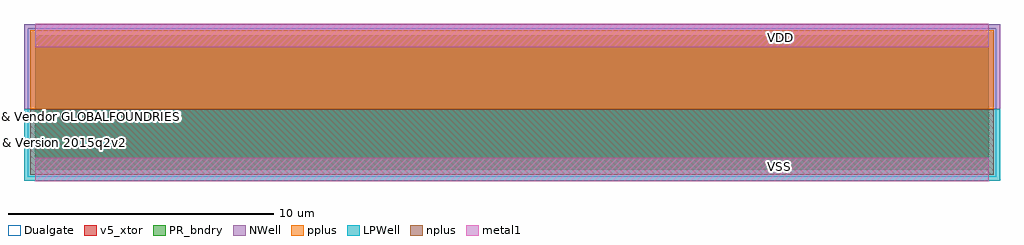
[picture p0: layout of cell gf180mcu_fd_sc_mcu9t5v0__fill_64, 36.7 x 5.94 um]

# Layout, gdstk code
import gdstk
lib = gdstk.Library(unit=1e-6, precision=1e-09)
def R(c, l, rs):  # rectangles x0, y0, x1, y1
    for r in rs: c.add(gdstk.rectangle(r[:2], r[2:], *l))
PR_bndry = (0, 0)
NWell = (21, 0)
pplus = (31, 0)
nplus = (32, 0)
metal1 = (34, 0)
Dualgate = (55, 0)
v5_xtor = (112, 1)
LPWell = (204, 0)

gf180mcu_fd_sc_mcu9t5v0_ = lib.new_cell('gf180mcu_fd_sc_mcu9t5v0__fill_64')
R(gf180mcu_fd_sc_mcu9t5v0_, PR_bndry, [(0,0,35.84,5.04)])
R(gf180mcu_fd_sc_mcu9t5v0_, NWell, [(-0.43,2.265,36.27,5.47)])
R(gf180mcu_fd_sc_mcu9t5v0_, pplus, [(-0.2,2.265,36.04,5.24)])
R(gf180mcu_fd_sc_mcu9t5v0_, nplus, [(-0.2,-0.2,36.04,2.265)])
R(gf180mcu_fd_sc_mcu9t5v0_, metal1, [(0,-0.45,35.84,0.45), (0,4.59,35.84,5.49)])
R(gf180mcu_fd_sc_mcu9t5v0_, Dualgate, [(-0.28,-0.28,36.12,5.32)])
R(gf180mcu_fd_sc_mcu9t5v0_, v5_xtor, [(0,0,35.84,5.04)])
R(gf180mcu_fd_sc_mcu9t5v0_, LPWell, [(-0.43,-0.43,36.27,2.265)])
gf180mcu_fd_sc_mcu9t5v0_.add(gdstk.Label('VDD', (28.02,4.97), layer=34, texttype=10))
gf180mcu_fd_sc_mcu9t5v0_.add(gdstk.Label('VSS', (27.965,0.105), layer=34, texttype=10))
gf180mcu_fd_sc_mcu9t5v0_.add(gdstk.Label('& Vendor GLOBALFOUNDRIES', (0,2), layer=63, texttype=63))
gf180mcu_fd_sc_mcu9t5v0_.add(gdstk.Label('& Product GF018hv5v_green_sc9', (0,1.5), layer=63, texttype=63))
gf180mcu_fd_sc_mcu9t5v0_.add(gdstk.Label('& Version 2015q2v2', (0,1), layer=63, texttype=63))
gf180mcu_fd_sc_mcu9t5v0_.add(gdstk.Label('& Metric 1.00', (0,0.5), layer=63, texttype=63))

lib.write_gds('gf180mcu_fd_sc_mcu9t5v0__fill_64.gds')
